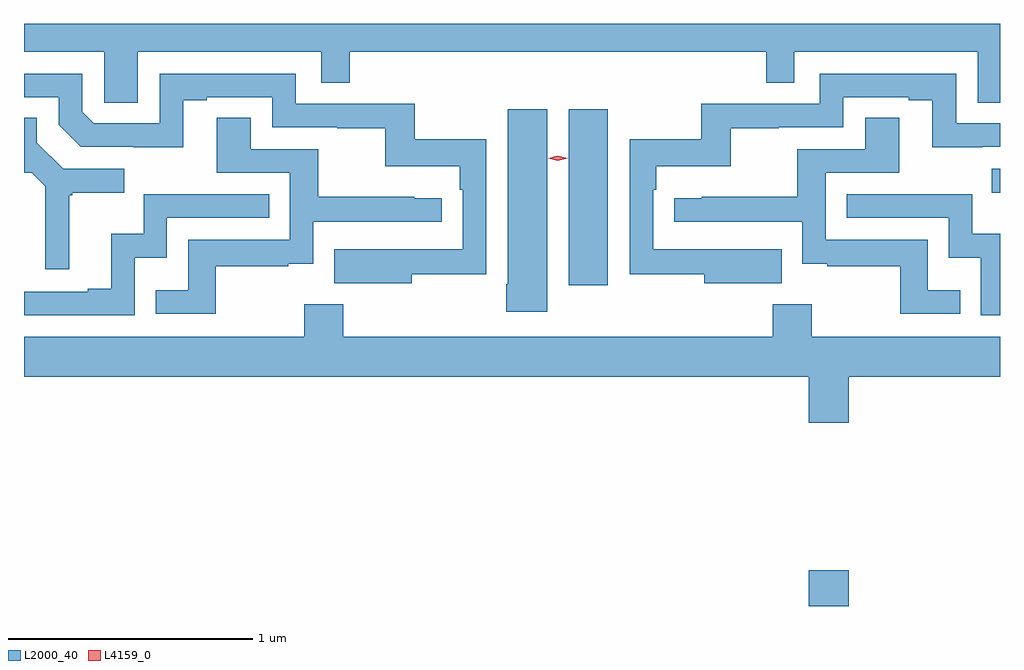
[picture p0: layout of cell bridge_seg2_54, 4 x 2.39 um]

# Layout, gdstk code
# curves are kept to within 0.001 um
import gdstk
lib = gdstk.Library(unit=1e-6, precision=1e-09)
def R(c, l, rs):  # rectangles x0, y0, x1, y1
    for r in rs: c.add(gdstk.rectangle(r[:2], r[2:], *l))
def P(c, l, *ps):  # polygons
    for p in ps: c.add(gdstk.Polygon(p, *l))
L2000_40 = (2000, 40)
L4159_0 = (4159, 0)

bridge_seg2_54 = lib.new_cell('bridge_seg2_54')
R(bridge_seg2_54, L2000_40, [(908.264,664.012,908.428,664.159), (907.28,665.328,907.441,666.049), (909.015,665.708,909.048,665.805)])
P(bridge_seg2_54, L2000_40, [(905.515,666.284),(906.267,666.284),(906.267,666.157),(906.383,666.157),(906.383,666.284),(908.089,666.284),(908.089,666.157),(908.205,666.157),(908.205,666.284),(908.957,666.284),(908.957,666.076),(909.048,666.076),(909.048,666.4),(905.048,666.4),(905.048,666.284),(905.376,666.284),(905.376,666.076),(905.515,666.076)],
  [(908.153,665.476),(907.939,665.476),(907.939,665.475),(907.626,665.475),(907.626,665.72),(907.64,665.72),(907.64,665.816),(907.945,665.816),(907.945,665.971),(908.141,665.971),(908.141,665.976),(908.406,665.976),(908.406,666.099),(908.675,666.099),(908.675,666.087),(908.771,666.087),(908.771,665.894),(908.976,665.894),(908.976,665.895),(909.048,665.895),(909.048,665.991),(908.868,665.991),(908.868,666.195),(908.31,666.195),(908.31,666.072),(907.824,666.072),(907.824,665.926),(907.53,665.926),(907.53,665.374),(907.835,665.374),(907.835,665.336),(908.153,665.336)],
  [(906.637,665.374),(906.942,665.374),(906.942,665.926),(906.649,665.926),(906.649,666.072),(906.162,666.072),(906.162,666.195),(905.604,666.195),(905.604,665.991),(905.334,665.991),(905.286,666.039),(905.286,666.195),(905.048,666.195),(905.048,666.099),(905.19,666.099),(905.19,665.985),(905.28,665.895),(905.701,665.894),(905.701,666.087),(905.797,666.087),(905.797,666.099),(906.066,666.099),(906.066,665.976),(906.331,665.976),(906.331,665.971),(906.528,665.971),(906.528,665.816),(906.833,665.816),(906.833,665.72),(906.846,665.72),(906.846,665.475),(906.319,665.476),(906.319,665.336),(906.637,665.336)],
  [(907.192,666.049),(907.031,666.049),(907.031,665.332),(907.024,665.332),(907.024,665.22),(907.192,665.22)],
  [(905.233,665.697),(905.245,665.697),(905.245,665.708),(905.458,665.708),(905.458,665.805),(905.208,665.805),(905.101,665.912),(905.101,666.014),(905.048,666.014),(905.048,665.79),(905.079,665.79),(905.136,665.733),(905.136,665.394),(905.233,665.394)],
  [(908.885,665.308),(908.751,665.308),(908.751,665.514),(908.334,665.514),(908.334,665.79),(908.635,665.79),(908.635,666.014),(908.495,666.014),(908.495,665.886),(908.218,665.886),(908.218,665.69),(907.825,665.69),(907.825,665.685),(907.713,665.685),(907.713,665.589),(908.238,665.589),(908.238,665.417),(908.341,665.417),(908.341,665.406),(908.64,665.406),(908.64,665.211),(908.885,665.211)],
  [(905.833,665.406),(906.131,665.406),(906.131,665.417),(906.234,665.417),(906.234,665.589),(906.76,665.589),(906.76,665.685),(906.647,665.685),(906.647,665.69),(906.254,665.69),(906.254,665.886),(905.977,665.886),(905.977,666.014),(905.837,666.014),(905.837,665.79),(906.138,665.79),(906.138,665.514),(905.722,665.514),(905.722,665.308),(905.587,665.308),(905.587,665.211),(905.833,665.211)],
  [(905.502,665.441),(905.634,665.441),(905.634,665.604),(906.053,665.604),(906.053,665.7),(905.538,665.7),(905.538,665.539),(905.405,665.539),(905.405,665.314),(905.309,665.314),(905.309,665.301),(905.048,665.301),(905.048,665.205),(905.502,665.205)],
  [(909.048,665.539),(908.934,665.539),(908.934,665.7),(908.419,665.7),(908.419,665.604),(908.838,665.604),(908.838,665.441),(908.97,665.441),(908.97,665.205),(909.048,665.205)],
  [(908.428,664.952),(909.048,664.952),(909.048,665.116),(908.277,665.116),(908.277,665.251),(908.117,665.251),(908.117,665.116),(906.356,665.116),(906.356,665.251),(906.196,665.251),(906.196,665.116),(905.048,665.116),(905.048,664.952),(908.264,664.952),(908.264,664.764),(908.428,664.764)])
P(bridge_seg2_54, L4159_0, [(907.236,665.838),(907.196,665.848),(907.196,665.848),(907.196,665.849),(907.236,665.858),(907.276,665.849),(907.276,665.848),(907.276,665.848)])

lib.write_gds('bridge_seg2_54.gds')
